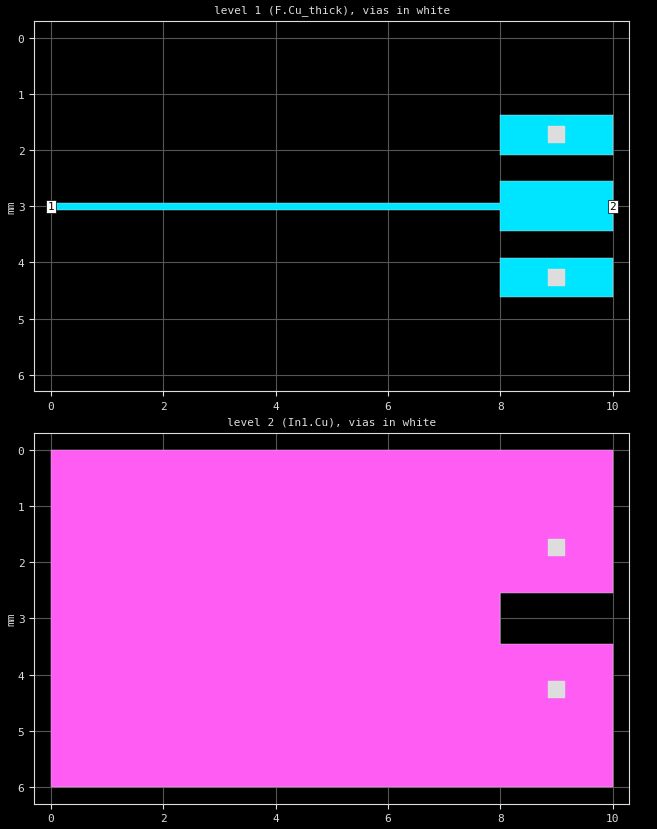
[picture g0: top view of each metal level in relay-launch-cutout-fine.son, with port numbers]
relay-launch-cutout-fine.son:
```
FTYP SONPROJ 19 ! Sonnet Project File
VER 18.56
HEADER
LIC antikernel2.1.52448
DAT 12/29/2023 12:04:16
BUILT_BY_CREATED xgeom 18.52 11/18/2021 20:28:07
BUILT_BY_SAVED sonnet 18.56
MDATE 12/29/2023 12:04:16
HDATE 12/29/2023 12:04:16
ANN Created by dxfgeo, Sonnet Software Inc.
END HEADER
DIM
ANG DEG
CAP PF
CON /OH
FREQ GHZ
IND NH
LNG MM
RES OH
END DIM
CONTROL
VARSWP
OPTIONS  -dj
SPEED 0
CACHE_ABS 2
Q_ACC N
END CONTROL
GEO
SYM
TMET "Free Space" 0 FREESPACE 376.7303136 0 0 0
BMET "Free Space" 0 FREESPACE 376.7303136 0 0 0
MET "Copper_1oz_thin" 1 NOR 58000000 0.5 0.035 
MET "Copper_1oz_thick" 2 TMM 58000000 0.5 0.035 2
MET "Copper_1oz_thick_down" 3 TMM 58000000 0.5 0.035 2 CDVY TDWN
MET "Copper_0.5oz_thin" 4 NOR 58000000 0.5 0.017 
MET "Copper_0.5oz_thick" 12 TMM 58000000 0.5 0.017 2
MET "Copper_0.5oz_thick_down" 5 TMM 58000000 0.5 0.017 2 CDVY TDWN
BOX 12 10 6 2000 1200 20 0
      5 1 1 0 0 0 0 "Air"
      0.04 3.5 1 0.025 0 0 0 "Soldermask"
      0.071 3.9 1 0.008 0 0 0 "TU-872_SLK"
      0.1 3.9 1 0.008 0 0 0 "TU-872_SLK"
      0.119 3.9 1 0.008 0 0 0 "TU-872_SLK"
      0.1 4.49 1 0.016 0 0 0 "Shengyi_S1000-2M"
      0.5 4.49 1 0.016 0 0 0 "Shengyi_S1000-2M"
      0.1 4.49 1 0.016 0 0 0 "Shengyi_S1000-2M"
      0.119 3.9 1 0.008 0 0 0 "TU-872_SLK"
      0.1 3.9 1 0.008 0 0 0 "TU-872_SLK"
      0.071 3.9 1 0.008 0 0 0 "TU-872_SLK"
      0.04 3.5 1 0.025 0 0 0 "Soldermask"
      5 1 1 0 0 0 0 "Air"
TECHLAY VIA Via1 L4D0 -13 -65534 CAD Via1 drawing 
VIA POLYGON
1 0 -1 N 464 1 1 100 100 0 0 0 Y
TOLEVEL 10 RING NOCOVERS
END
END
TECHLAY METAL F.Cu_thick L1D0 -2 -65534 CAD F.Cu_thick drawing 
1 0 1 N 331 1 1 100 100 0 0 0 Y
END
END
TECHLAY METAL F.Cu_thin <UNSPECIFIED> -1 -65534 CAD F.Cu_thin drawing 
1 0 0 N 335 1 1 100 100 0 0 0 Y
END
END
TECHLAY METAL In1.Cu L2D0 -3 -65534 CAD In1.Cu drawing 
2 0 0 N 338 1 1 100 100 0 0 0 Y
END
END
TECHLAY METAL In2.Cu_thick <UNSPECIFIED> -5 -65534 CAD In2.Cu_thick drawing 
3 0 4 N 341 1 1 100 100 0 0 0 Y
END
END
TECHLAY METAL In2.Cu_thin <UNSPECIFIED> -4 -65534 CAD In2.Cu drawing 
3 0 3 N 343 1 1 100 100 0 0 0 Y
END
END
TECHLAY METAL In3.Cu <UNSPECIFIED> -6 -65534 CAD In3.Cu drawing 
4 0 0 N 346 1 1 100 100 0 0 0 Y
END
END
TECHLAY METAL In4.Cu <UNSPECIFIED> -7 -65534 CAD In4.Cu drawing 
5 0 0 N 349 1 1 100 100 0 0 0 Y
END
END
TECHLAY METAL In5.Cu <UNSPECIFIED> -14 -65534 
6 0 0 N 352 1 1 100 100 0 0 0 Y
END
END
TECHLAY METAL In6.Cu <UNSPECIFIED> -15 -65534 
7 0 0 N 355 1 1 100 100 0 0 0 Y
END
END
TECHLAY METAL In7.Cu_thick <UNSPECIFIED> -9 -65534 CAD In5.Cu_thick drawing 
8 0 5 N 358 1 1 100 100 0 0 0 Y
END
END
TECHLAY METAL In7.Cu_thin <UNSPECIFIED> -8 -65534 CAD In5.Cu drawing 
8 0 3 N 360 1 1 100 100 0 0 0 Y
END
END
TECHLAY METAL In8.Cu <UNSPECIFIED> -10 -65534 CAD In6.Cu drawing 
9 0 0 N 363 1 1 100 100 0 0 0 Y
END
END
TECHLAY METAL B.Cu_thick L3D0 -12 -65534 CAD B.Cu_thick drawing 
10 0 2 N 366 1 1 100 100 0 0 0 Y
END
END
TECHLAY METAL B.Cu_thin <UNSPECIFIED> -11 -65534 CAD B.Cu_thin drawing 
10 0 0 N 370 1 1 100 100 0 0 0 Y
END
END
VALVAR CORE_ER NONE "table1(\"../../sata-sniffer/sims/core_er.csv\",FREQ)" "Variable set in material file"
VALVAR CORE_DF NONE "table1(\"../../sata-sniffer/sims/core_df.csv\",FREQ)" "Variable set in material file"
VALVAR PREPREG_DF NONE "table1(\"../../sata-sniffer/sims/prepreg_df.csv\",FREQ)" "Variable set in material file"
VALVAR PREPREG_ER NONE "table1(\"../../sata-sniffer/sims/prepreg_er.csv\",FREQ)" "Variable set in material file"
DIM STD YDIR 1
POS -2.220657469 0.6981574347
NOM 0.9
REF1 POLY 444 1
0
REF2 POLY 444 1
7
END
DIM STD YDIR -1
POS -0.06834565183 -0.3488710421
NOM 0.47
REF1 POLY 444 1
1
REF2 POLY 432 1
3
END
DIM STD YDIR -1
POS -0.04742150352 -0.3480234364
NOM 0.47
REF1 POLY 437 1
3
REF2 POLY 444 1
6
END
DIM STD XDIR 1
POS 1.972598257 -0.1453893186
NOM 2
REF1 POLY 432 1
0
REF2 POLY 432 1
1
END
DIM STD YDIR 1
POS -2.370657469 0.4581574347
NOM 0.7
REF1 POLY 432 1
1
REF2 POLY 432 1
2
END
DIM STD XDIR 1
POS 1.972598257 0.1453893186
NOM 2
REF1 POLY 437 1
0
REF2 POLY 437 1
1
END
DIM STD YDIR -1
POS -2.370657469 -0.4581574347
NOM 0.7
REF1 POLY 437 1
1
REF2 POLY 437 1
2
END
DIM STD YDIR -1
POS 0.1292803472 -0.1657347246
NOM 0.2
REF1 POLY 445 1
0
REF2 POLY 432 1
0
END
DIM STD YDIR 1
POS 0.06098200074 0.1199235962
NOM 0.2
REF1 POLY 445 1
3
REF2 POLY 432 1
3
END
DIM STD XDIR 1
POS 0.7888721148 -0.1440272659
NOM 0.85
REF1 POLY 445 1
1
REF2 POLY 432 1
1
END
DIM STD XDIR -1
POS -0.4802823949 -0.07914383682
NOM 0.85
REF1 POLY 445 1
0
REF2 POLY 432 1
0
END
LORGN 0 6 U 
POR1 BOX
POLY 444 1
3
1 50 0 0 0 -5.551115123e-17 3 
POR1 BOX
POLY 444 1
7
2 50 0 0 0 10 3 
NUM 6
VIA POLYGON
1 5 -1 N 445 1 1 100 100 0 0 0 Y
TOLEVEL 10 RING NOCOVERS
TLAYNAM Via1 INH
8.85 1.58
9.15 1.58
9.15 1.88
8.85 1.88
8.85 1.58
END
VIA POLYGON
1 5 -1 N 454 1 1 100 100 0 0 0 Y
TOLEVEL 10 RING NOCOVERS
TLAYNAM Via1 INH
8.85 4.42
9.15 4.42
9.15 4.12
8.85 4.12
8.85 4.42
END
1 5 1 N 432 1 1 100 100 0 0 0 Y
TLAYNAM F.Cu_thick INH
8 1.38
10 1.38
10 2.08
8 2.08
8 1.38
END
1 5 1 N 437 1 1 100 100 0 0 0 Y
TLAYNAM F.Cu_thick INH
8 4.62
10 4.62
10 3.92
8 3.92
8 4.62
END
1 9 1 N 444 1 1 100 100 0 0 0 Y
TLAYNAM F.Cu_thick INH
10 2.55
8 2.55
8 2.94
-5.551115123e-17 2.94
-5.551115123e-17 3.06
8 3.06
8 3.45
10 3.45
10 2.55
END
2 9 0 N 456 1 1 100 100 0 0 0 Y
TLAYNAM In1.Cu INH
10 3.45
8 3.45
8 2.55
10 2.55
10 0
0 0
0 6
10 6
10 3.45
END
END GEO
OPT
MAX 100
END OPT
VARSWP
ENABLED Y
FREQ Y AY ABS_ENTRY 0.01 16.0 -1 300 
END
END VARSWP
```
